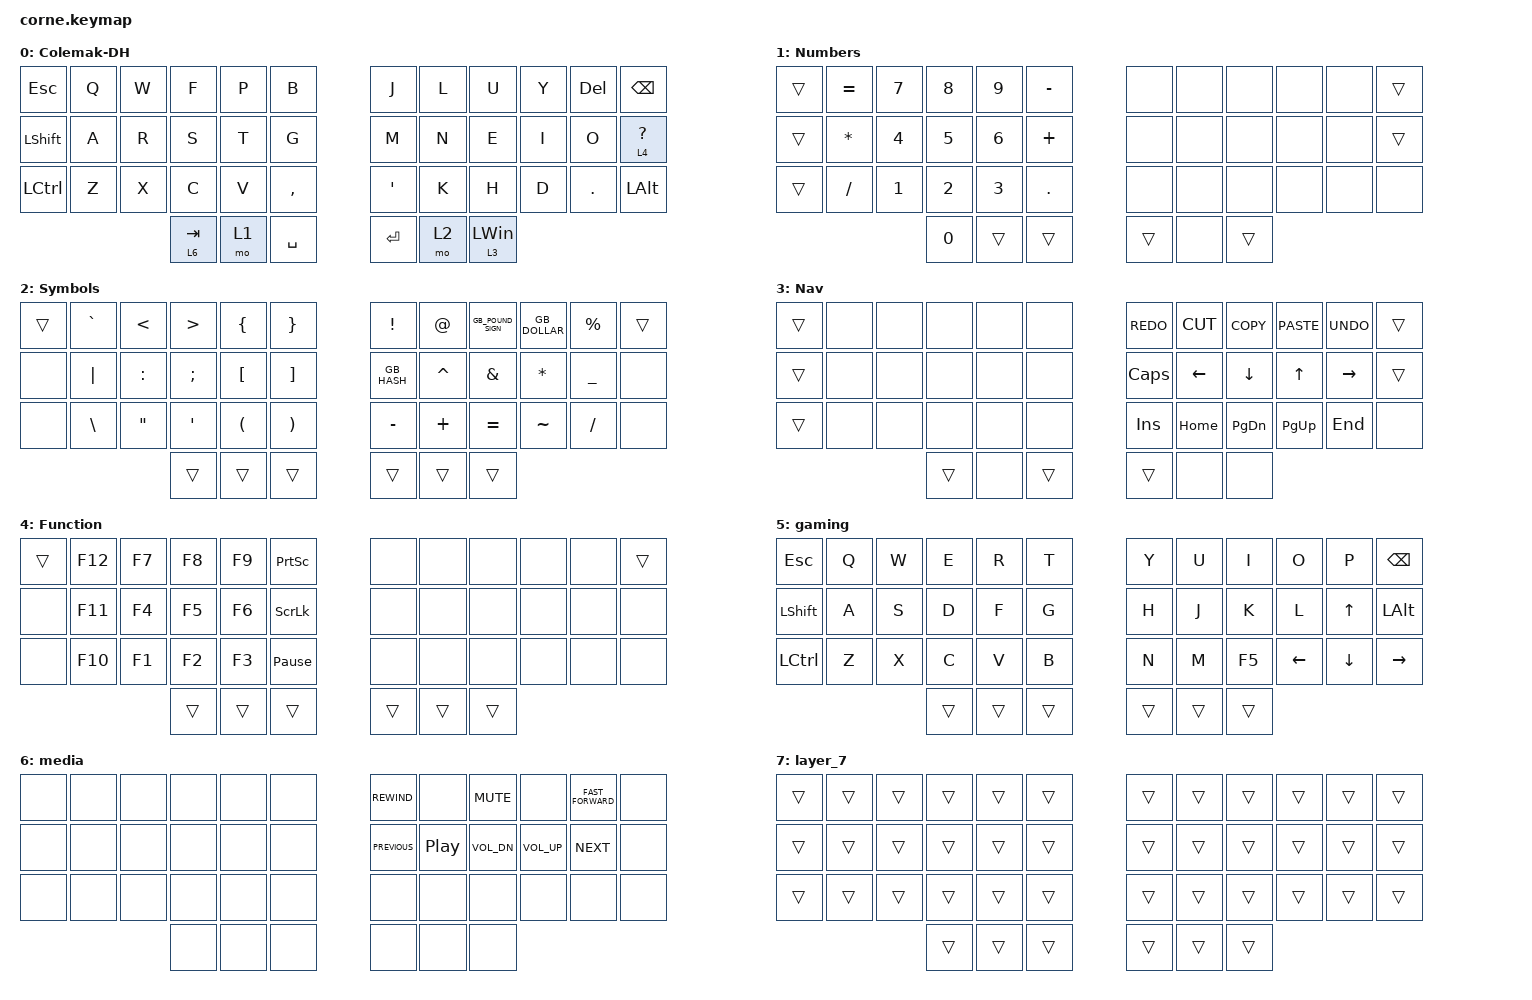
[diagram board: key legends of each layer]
#include "keys_en_gb.h"
#include <behaviors.dtsi>
#include <dt-bindings/zmk/keys.h>

// dt-formatter: indent = "  "
// dt-formatter: multilineIntegerCellsIndent = "reindent"
// dt-formatter: multilineListCommaStyle = "leading"

/ {
  combos {
    compatible = "zmk,combos";

    caps_word {
      key-positions = <0 12>;
      bindings = <&caps_word>;
    };

    colemak-to-gaming {
      bindings = <&to 5>;
      key-positions = <36 41>;
      layers = <0>;
    };

    gaming-to-colemak {
      bindings = <&to 0>;
      key-positions = <36 41>;
      layers = <5>;
    };
  };

  conditional_layers { compatible = "zmk,conditional-layers"; };

  keymap {
    compatible = "zmk,keymap";

    Colemak-DH {
      bindings = <
        &kp ESCAPE  &kp Q  &kp W  &kp F      &kp P  &kp B        &kp J    &kp L  &kp U           &kp Y  &kp DELETE  &kp BSPC
        &kp LSHFT   &kp A  &kp R  &kp S      &kp T  &kp G        &kp M    &kp N  &kp E           &kp I  &kp O       &lt 4 QUESTION
        &kp LCTRL   &kp Z  &kp X  &kp C      &kp V  &kp COMMA    &kp SQT  &kp K  &kp H           &kp D  &kp PERIOD  &kp LEFT_ALT
                                  &lt 6 TAB  &mo 1  &kp SPACE    &kp RET  &mo 2  &lt 3 LEFT_WIN
      >;
    };

    Numbers {
      bindings = <
        &trans  &kp EQUAL     &kp N7  &kp N8        &kp N9  &kp MINUS    &none   &none  &none   &none  &none  &trans
        &trans  &kp ASTERISK  &kp N4  &kp N5        &kp N6  &kp PLUS     &none   &none  &none   &none  &none  &trans
        &trans  &kp FSLH      &kp N1  &kp N2        &kp N3  &kp DOT      &none   &none  &none   &none  &none  &none
                                      &kp NUMBER_0  &trans  &trans       &trans  &none  &trans
      >;
    };

    Symbols {
      bindings = <
        &trans  &kp GRAVE      &kp LESS_THAN      &kp GREATER_THAN  &kp LEFT_BRACE        &kp RIGHT_BRACE          &kp EXCLAMATION  &kp AT_SIGN  &kp GB_POUND_SIGN  &kp GB_DOLLAR  &kp PERCENT     &trans
        &none   &kp PIPE       &kp COLON          &kp SEMICOLON     &kp LEFT_BRACKET      &kp RBKT                 &kp GB_HASH      &kp CARET    &kp AMPERSAND      &kp ASTERISK   &kp UNDERSCORE  &none
        &none   &kp BACKSLASH  &kp DOUBLE_QUOTES  &kp SINGLE_QUOTE  &kp LEFT_PARENTHESIS  &kp RIGHT_PARENTHESIS    &kp MINUS        &kp PLUS     &kp EQUAL          &kp TILDE      &kp SLASH       &none
                                                  &trans            &trans                &trans                   &trans           &trans       &trans
      >;
    };

    Nav {
      bindings = <
        &trans  &none  &none  &none   &none  &none     &kp K_REDO  &kp K_CUT       &kp K_COPY  &kp K_PASTE  &kp K_UNDO  &trans
        &trans  &none  &none  &none   &none  &none     &kp CAPS    &kp LEFT_ARROW  &kp DOWN    &kp UP       &kp RIGHT   &trans
        &trans  &none  &none  &none   &none  &none     &kp INSERT  &kp HOME        &kp PG_DN   &kp PG_UP    &kp END     &none
                              &trans  &none  &trans    &trans      &none           &none
      >;
    };

    Function {
      bindings = <
        &trans  &kp F12  &kp F7  &kp F8  &kp F9  &kp PRINTSCREEN    &none   &none   &none   &none  &none  &trans
        &none   &kp F11  &kp F4  &kp F5  &kp F6  &kp SCROLLLOCK     &none   &none   &none   &none  &none  &none
        &none   &kp F10  &kp F1  &kp F2  &kp F3  &kp PAUSE_BREAK    &none   &none   &none   &none  &none  &none
                                 &trans  &trans  &trans             &trans  &trans  &trans
      >;
    };

    gaming {
      bindings = <
        &kp ESC    &kp Q  &kp W  &kp E   &kp R   &kp T     &kp Y   &kp U   &kp I   &kp O     &kp P     &kp BSPC
        &kp LSHFT  &kp A  &kp S  &kp D   &kp F   &kp G     &kp H   &kp J   &kp K   &kp L     &kp UP    &kp LEFT_ALT
        &kp LCTRL  &kp Z  &kp X  &kp C   &kp V   &kp B     &kp N   &kp M   &kp F5  &kp LEFT  &kp DOWN  &kp RIGHT
                                 &trans  &trans  &trans    &trans  &trans  &trans
      >;
    };

    media {
      bindings = <
        &none  &none  &none  &none  &none  &none    &kp C_REWIND    &none             &kp K_MUTE    &none            &kp C_FAST_FORWARD  &none
        &none  &none  &none  &none  &none  &none    &kp C_PREVIOUS  &kp C_PLAY_PAUSE  &kp C_VOL_DN  &kp C_VOLUME_UP  &kp C_NEXT          &none
        &none  &none  &none  &none  &none  &none    &none           &none             &none         &none            &none               &none
                             &none  &none  &none    &none           &none             &none
      >;
    };

    layer_7 {
      bindings = <
        &trans  &trans  &trans  &trans  &trans  &trans    &trans  &trans  &trans  &trans  &trans  &trans
        &trans  &trans  &trans  &trans  &trans  &trans    &trans  &trans  &trans  &trans  &trans  &trans
        &trans  &trans  &trans  &trans  &trans  &trans    &trans  &trans  &trans  &trans  &trans  &trans
                                &trans  &trans  &trans    &trans  &trans  &trans
      >;
    };
  };
};
